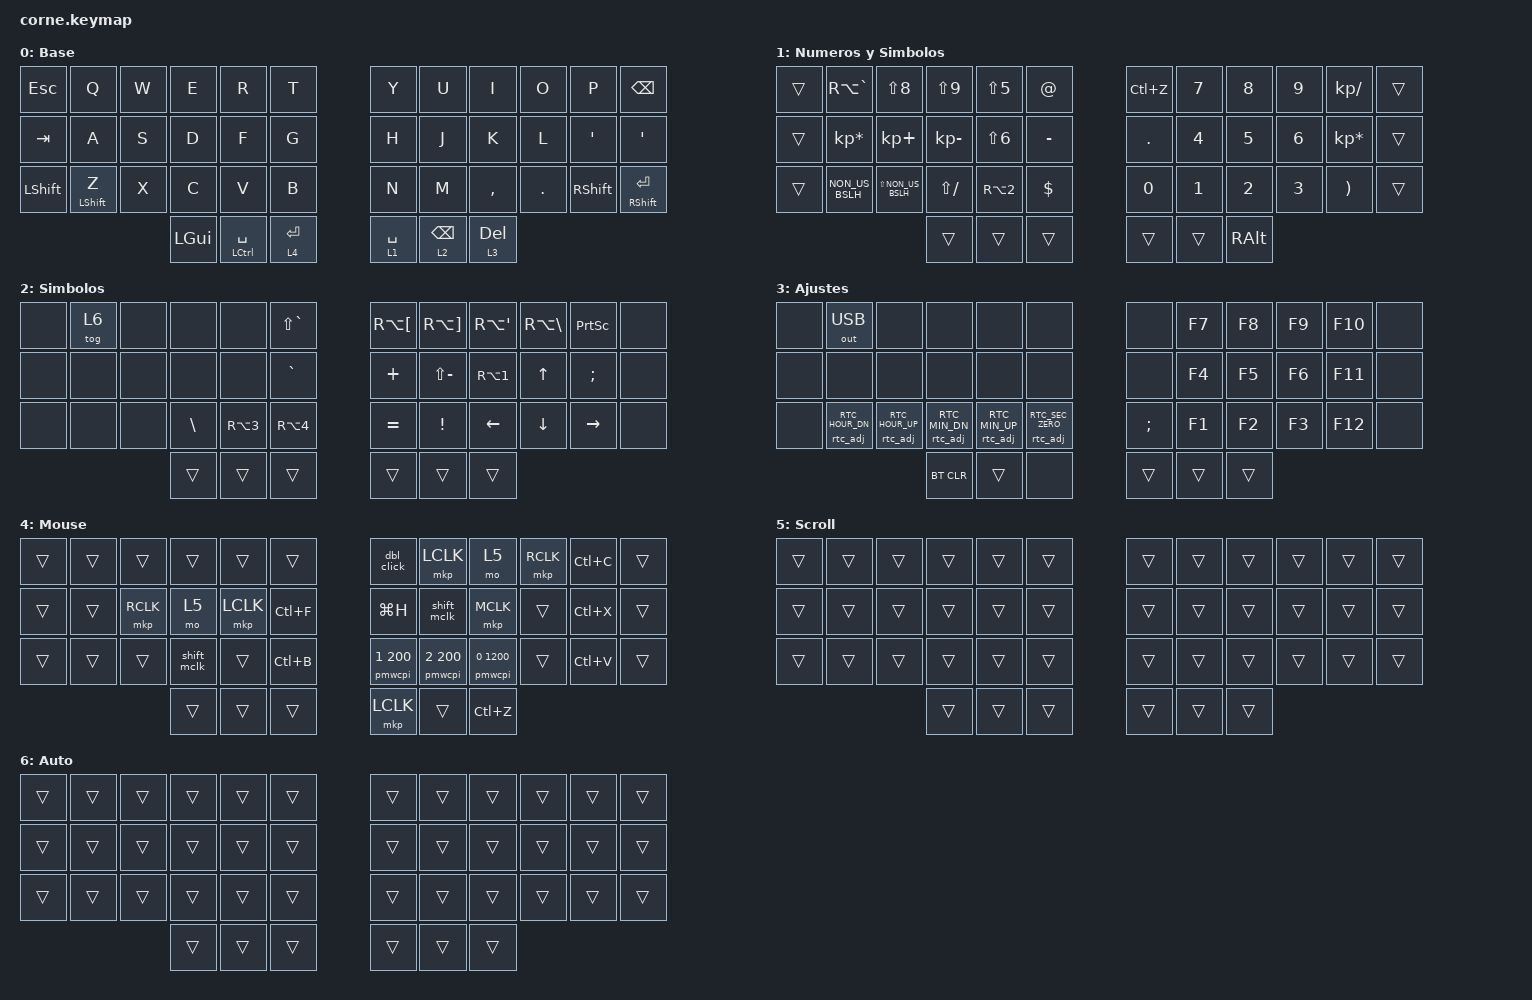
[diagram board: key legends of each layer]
/*
 * Copyright (c) 2020 The ZMK Contributors
 * test
 * SPDX-License-Identifier: MIT
 */
#include <behaviors.dtsi>
#include <dt-bindings/zmk/keys.h>
#include <dt-bindings/zmk/bt.h>
#include <dt-bindings/zmk/outputs.h>
#include <dt-bindings/zmk/pointing.h>
#include <dt-bindings/zmk/rtc_adjust.h>

/* El override de &nice_view_spi (CS del display) se movio a config/corne_left.overlay,
 * porque el lado derecho ya no incluye el shield nice_view. */

/ {
    combos {
        compatible = "zmk,combos";
            combo_acute_n {
            timeout-ms = <300>; // Límite de tiempo para la secuencia
            key-positions = <22 30>; // ACUTE en pos 22, N en pos 30
            bindings = <&n_tilde>;   // Dispara macro ñ
        };
        combo_esc {
            timeout-ms = <50>;
            key-positions = <4 5>;
            bindings = <&kp ESC>;
        };
        combo_tab {
            timeout-ms = <50>;
            key-positions = <16 17>;
            bindings = <&kp TAB>;
        };
        combo_arr {
            timeout-ms = <50>;
            key-positions = <28 29>;
            bindings = <&kp RA(N2)>;
        };
        combo_BSPC1 {
            timeout-ms = <50>;
            key-positions = <18 19>;
            bindings = <&kp BSPC>;
        };
        combo_RET {
            timeout-ms = <50>;
            key-positions = <33 34>;
            bindings = <&mt LCTRL RET>;
        };
        combo_BSPC2 {
            timeout-ms = <50>;
            key-positions = <9 10>;
            bindings = <&kp LC(BSPC)>;
        };
        combo_num {
            timeout-ms = <50>;
            key-positions = <20 21>;
            bindings = <&tog 1>;
        };
        combo_ene {
            timeout-ms = <50>;
            key-positions = <21 22>;
            bindings = <&kp SEMI>;
        };
        combo_ene2 {
            timeout-ms = <50>;
            key-positions = <30 31>;
            bindings = <&kp SEMI>;
        };
        combo_suspende {
            timeout-ms = <50>;
            key-positions = <14 15 16>;
            bindings = <&win_sleep>;
        };
        combo_blqmayus {
            timeout-ms = <50>;
            key-positions = <25 26>;
            bindings = <&kp CLCK>;
        };
         combo_ctrolz {
            timeout-ms = <50>;
            key-positions = <15 16>;
            bindings = <&kp LC(Z)>;
        };        
    };
};
/ {
    behaviors {
        /* Doble clic izquierdo en una sola tecla (posicion 6 de la capa 4).
         * wait-ms/tap-ms bajos a proposito: con los 100 ms por defecto de ZMK
         * pasarian 200 ms entre pulsaciones y el host puede leerlo como
         * arrastre en vez de doble clic. */
        dbl_click: dbl_click {
            compatible = "zmk,behavior-macro";
            label = "DBL_CLICK";
            #binding-cells = <0>;
            wait-ms = <40>;
            tap-ms = <40>;
            bindings = <&macro_tap &mkp LCLK &mkp LCLK>;
        };
        /* Poner en hora el reloj del dongle (capa 3). Solo hace algo en el
         * dongle, que es la central y tiene el DS3231; en las mitades no se
         * compila el driver. */
        rtc_adj: rtc_adj {
            compatible = "zmk,behavior-rtc-adjust";
            #binding-cells = <1>;
        };
         win_sleep: win_sleep {
            wait-ms = <500>;
            tap-ms = <5>;
            compatible = "zmk,behavior-macro";
            label = "WIN_SLEEP_KEY";
            #binding-cells = <0>;
            bindings = <&kp LG(X) &kp G &kp S>;
        };
        n_tilde: n_tilde {
            compatible = "zmk,behavior-macro";
            label = "ñ Macro";
            #binding-cells = <0>;
            bindings = <&kp SEMI>; // Unicode para ñ
        };
        /* Shift + boton central mantenidos. &mkp no acepta modificadores
         * (&mkp LS(MCLK) no existe), asi que se hace con macro:
         * macro_pause_for_release deja ambos pulsados hasta soltar la tecla.
         * El orden importa: shift entra antes del click y sale despues. */
        shift_mclk: shift_mclk {
            compatible = "zmk,behavior-macro";
            label = "SHIFT_MCLK";
            #binding-cells = <0>;
            bindings
                = <&macro_press &kp LSHFT &mkp MCLK>
                , <&macro_pause_for_release>
                , <&macro_release &mkp MCLK &kp LSHFT>;
        };
    };
};
/ {
        keymap {
                compatible = "zmk,keymap";
                default_layer {
                        display-name = "Base";
// -----------------------------------------------------------------------------------------
// |   0  |  1  |  2  |  3  |  4  |  5  |   |  6  |  7   |  8  |  9  |  10 | 11 | 
// |  12  | 13  | 14  | 15  |  16 |  17 |   | 18  |  19  |  20 |  21 | 22  | 23 |
// |  24  | 25  | 26  | 27  |  28 |  29 |   | 30  |  31  |  32 |  33 | 34  | 35 |
//                    | 36  | 37  | 38  |   | 39  |  40  |  41 |
// -----------------------------------------------------------------------------------------
// |      |  Q  |  W  |  E  |  R  |  T  |   |  Y  |  U   |  I  |  O  |  P  |    |
// |      |  A  |  S  |  D  |  F  |  G  |   |  H  |  J   |  K  |  L  | ´   |    |
// |      |  Z  |  X  |  C  |  V  |  B  |   |  N  |  M   |  ,  |  .  | SHFT |    |
//         SHFT         | SHFT| LWR | CTRL |   | SPAC | RSE  | ALT |
//  0
                        bindings = <
   &kp ESC   &kp Q       &kp W &kp E &kp R &kp T   &kp Y &kp U  &kp I     &kp O   &kp P         &kp BSPC
   &kp TAB   &kp A       &kp S &kp D &kp F &kp G   &kp H &kp J  &kp K     &kp L   &kp SQT       &kp SQT
   &kp LSHFT &mt LSHFT Z &kp X &kp C &kp V &kp B   &kp N &kp M  &kp COMMA &kp DOT &kp RSHFT     &mt RSHFT RET
       &kp LGUI &mt LCTRL SPACE &lt 4 RET    &lt 1 SPACE &lt 2 BSPC   &lt 3 DEL 
                        >;
                };
                lower_layer {
                        display-name = "Numeros y Simbolos";
// -----------------------------------------------------------------------------------------
// |      | \ |  (  |  )  |  %  |  "  |   |  ,  |  7  |  8  |  9  | BKSP|      |
// |      | * |  +  |  -  |  &  |  '  |   |  .  |  4  |  5  |  6  |  /  |      |
// |      | z |  >  |  _  |  $  |  @  |   |  0  |  1  |  2  |  3  |  =  |      |
//                    |     |     |CTRL |   | ENT |     | ALT | 
// 1
                        bindings = <
   &trans &kp RA(GRAVE)    &kp LS(N8)          &kp LS(N9)     &kp LS(N5)   &kp AT         &kp LC(Z)  &kp N7   &kp N8  &kp N9  &kp KP_DIVIDE   &trans
   &trans &kp KP_ASTERISK  &kp KP_PLUS         &kp KP_MINUS   &kp LS(N6)   &kp MINUS      &kp DOT    &kp N4   &kp N5  &kp N6  &kp KP_ASTERISK &trans
   &trans &kp NON_US_BSLH  &kp LS(NON_US_BSLH) &kp LS(FSLH)   &kp RA(N2)   &kp DLLR       &kp N0     &kp N1   &kp N2  &kp N3  &kp RPAR        &trans
                          	                   &trans         &trans   &trans         &trans     &trans   &kp RALT  
                        >;
                };
                raise_layer {
                        display-name = "Simbolos";
// -----------------------------------------------------------------------------------------
// |     |     |    |     |     |  ª  |     | [  |  ]  |  {   |  }    | PSCR  |    |
// |     |     |    |     |     |  º  |     | ¿  |  ?  |  #   |  UP   |       |    |
// |     |     |    |     |  #  |  ~  |     |  ¡ |  !  | LEFT | DOWN  | RIGHT |    |
//             |    |     |     |     |     |    | ALT |
// 2
                        bindings = <
   &none    &tog 6     &none       &none     &none      &kp LS(GRAVE)  &kp RA(LBKT)  &kp RA(RBKT)   &kp RA(SQT)  &kp RA(BSLH)  &kp PSCRN  &none
   &none    &none      &none       &none     &none      &kp GRAVE      &kp PLUS      &kp LS(MINUS)  &kp RA(N1)   &kp UP        &kp SEMI   &none
   &none    &none      &none       &kp BSLH  &kp RA(N3) &kp RA(N4)     &kp EQUAL     &kp EXCL       &kp LEFT     &kp DOWN      &kp RIGHT  &none
                                   &trans    &trans     &trans         &trans        &trans         &trans
                        >;
                };
                rgb_layer {
                        display-name = "Ajustes";
// -----------------------------------------------------------------------------------------
// Antes era la capa RGB. Los LED estan desoldados y el Bluetooth ya no se usa (va
// por el dongle). La fila de abajo izquierda pone en hora el reloj del dongle:
// -1h/+1h, -1min/+1min y :00 (segundos a 0, redondeando al minuto mas cercano:
// pulsar cuando el movil cambie de minuto).
// |     | USB |     |     |     |     |   |     |  F7  |  F8  |  F9  | F10  |    |
// |     |     |     |     |     |     |   |     |  F4  |  F5  |  F6  | F11  |    |
// |     | -1h | +1h |-1min|+1min| :00 |   |  ñ  |  F1  |  F2  |  F3  | F12  |    |
//                   |BTCLR|     |     |   |     |      |      |
// 3
                        bindings = <
 &none   &out OUT_USB    &none       &none               &none         &none                 &none                             &kp F7   &kp F8  &kp F9  &kp F10  &none
 &none   &none           &none       &none               &none         &none                 &none                             &kp F4   &kp F5  &kp F6  &kp F11  &none
 &none   &rtc_adj RTC_HOUR_DN &rtc_adj RTC_HOUR_UP &rtc_adj RTC_MIN_DN &rtc_adj RTC_MIN_UP &rtc_adj RTC_SEC_ZERO &kp SEMI                          &kp F1   &kp F2  &kp F3  &kp F12  &none
                                     &bt BT_CLR          &trans        &none                 &trans                            &trans   &trans
                        >;
                };
                mouse_layer {
                        display-name = "Mouse";
// -----------------------------------------------------------------------------------------
// |     |     |     |     |     | |   |     |  ctrl c | ctrl v  | ctrl x  |     |     |
// |     |     |     |     |     | |   |     | LCLK    | MCLK    | RCLK|     |     |
// |     |     |     |     |     |           |  SCRL_DN| SCRL_UP          |
//                          |     |     |     |   |      |    |     |
//
// Posicion 16 (la de la F) = &mo 5 -> mantener pulsada convierte el trackball
// en rueda de scroll (ver scroll_layer y config/corne_trackball.dtsi).
// Esta en la mitad izquierda a proposito: se sujeta con la izquierda mientras
// la derecha mueve la bola.
//
// Posicion 32 (justo debajo del MCLK) = &shift_mclk -> mantiene SHIFT + boton
// central a la vez mientras la tengas pulsada (ver macro en behaviors).u
// 4
                        bindings = <   
   &trans    &trans    &trans      &trans        &trans    &trans      &dbl_click      &mkp LCLK      &mo 5           &mkp RCLK  &kp LC(C)   &trans 
   &trans    &trans    &mkp RCLK   &mo 5         &mkp LCLK &kp LC(F)   &kp LG(H)       &shift_mclk    &mkp MCLK       &trans     &kp LC(X)   &trans 
   &trans    &trans    &trans      &shift_mclk   &trans    &kp LC(B)   &pmwcpi 1 200   &pmwcpi 2 200  &pmwcpi 0 1200  &trans     &kp LC(V)   &trans
                                   &trans        &trans    &trans      &mkp LCLK       &trans         &kp LC(Z)
                        >;
                };
                scroll_layer {
                        display-name = "Scroll";
// -----------------------------------------------------------------------------------------
// Capa "modificadora" del trackball: no cambia ninguna tecla (todo &trans), solo
// existe para que el input listener (config/corne_trackball.dtsi -> nodo "scroller")
// detecte que esta activa y convierta el movimiento de la bola en scroll.
//
// Se activa manteniendo pulsada la posicion 16 (la de la F) en la capa 4 (raton).
// Al ser todo &trans, mientras haces scroll siguen funcionando los clicks y demas
// teclas de las capas 4 / 0 que haya debajo.
// 5
                        bindings = <
   &trans &trans &trans &trans &trans &trans   &trans &trans &trans &trans &trans &trans
   &trans &trans &trans &trans &trans &trans   &trans &trans &trans &trans &trans &trans
   &trans &trans &trans &trans &trans &trans   &trans &trans &trans &trans &trans &trans
                        &trans &trans &trans   &trans &trans &trans
                        >;
                };
                auto_mouse_layer {
                        display-name = "Auto";
// -----------------------------------------------------------------------------------------
// Segunda capa "bandera" del trackball: igual que scroll_layer, no cambia ninguna
// tecla (todo &trans), solo existe para que el input listener
// (config/corne_trackball.dtsi -> nodo "auto_mouse") vea que esta activa.
//
// Mientras lo este, mover la bola activa sola la capa 4 (raton). Apagada, la bola
// sigue moviendo el cursor pero a la capa 4 solo se entra a mano con &lt 4
// (posicion 38).
//
// Se conmuta con &tog 6 en la capa 1 (posicion 18). Al encender el teclado
// ninguna capa esta conmutada, asi que la capa-raton automatica arranca APAGADA.
// 6
                        bindings = <
   &trans &trans &trans &trans &trans &trans   &trans &trans &trans &trans &trans &trans
   &trans &trans &trans &trans &trans &trans   &trans &trans &trans &trans &trans &trans
   &trans &trans &trans &trans &trans &trans   &trans &trans &trans &trans &trans &trans
                        &trans &trans &trans   &trans &trans &trans
                        >;
                };
        };
};
